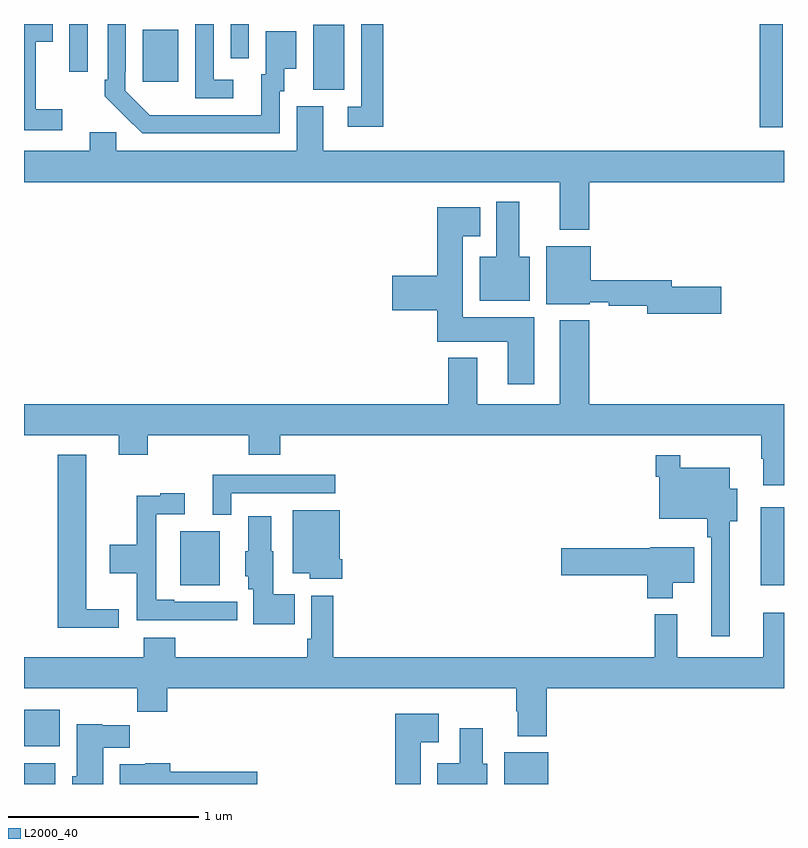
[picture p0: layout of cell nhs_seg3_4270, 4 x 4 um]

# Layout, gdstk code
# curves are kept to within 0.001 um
import gdstk
lib = gdstk.Library(unit=1e-6, precision=1e-09)
def R(c, l, rs):  # rectangles x0, y0, x1, y1
    for r in rs: c.add(gdstk.rectangle(r[:2], r[2:], *l))
def P(c, l, *ps):  # polygons
    for p in ps: c.add(gdstk.Polygon(p, *l))
L2000_40 = (2000, 40)

nhs_seg3_4270 = lib.new_cell('nhs_seg3_4270')
R(nhs_seg3_4270, L2000_40, [(337,712.4,337.165,712.51), (339.527,712.4,339.76,712.567), (337,712.598,337.189,712.792), (337.823,713.447,338.029,713.731), (340.877,713.447,341,713.857), (340.872,715.857,340.993,716.4), (338.522,716.053,338.686,716.396), (337.625,716.097,337.813,716.371), (337.239,716.148,337.335,716.4), (338.088,716.22,338.184,716.4)])
P(nhs_seg3_4270, L2000_40, [(337.201,715.951),(337.061,715.951),(337.061,716.306),(337.15,716.306),(337.15,716.4),(337,716.4),(337,715.842),(337.201,715.842)],
  [(338.346,716.046),(338.371,716.046),(338.371,716.165),(338.434,716.165),(338.434,716.362),(338.273,716.362),(338.273,716.136),(338.249,716.136),(338.249,715.92),(337.662,715.921),(337.533,716.049),(337.533,716.149),(337.536,716.149),(337.536,716.4),(337.44,716.4),(337.44,716.107),(337.425,716.107),(337.425,716.019),(337.622,715.824),(338.346,715.824)],
  [(338.891,716.4),(338.775,716.4),(338.775,715.965),(338.703,715.965),(338.703,715.86),(338.891,715.86)],
  [(338.101,716.106),(337.998,716.106),(337.998,716.4),(337.902,716.4),(337.902,716.01),(338.101,716.01)],
  [(339.974,715.568),(341,715.568),(341,715.732),(338.575,715.732),(338.575,715.968),(338.435,715.968),(338.435,715.732),(337.485,715.732),(337.485,715.83),(337.346,715.83),(337.346,715.732),(337,715.732),(337,715.568),(339.821,715.568),(339.821,715.316),(339.974,715.316)],
  [(339.661,715.174),(339.607,715.174),(339.607,715.465),(339.485,715.465),(339.485,715.174),(339.398,715.174),(339.398,714.944),(339.661,714.944)],
  [(339.685,714.856),(339.31,714.856),(339.31,715.283),(339.4,715.283),(339.4,715.435),(339.176,715.435),(339.176,715.076),(338.937,715.076),(338.937,714.893),(339.176,714.893),(339.176,714.728),(339.545,714.728),(339.545,714.504),(339.685,714.504)],
  [(340.669,715.016),(340.408,715.016),(340.408,715.052),(339.982,715.052),(339.982,715.231),(339.749,715.231),(339.749,714.926),(339.978,714.926),(339.978,714.936),(340.078,714.936),(340.078,714.916),(340.28,714.916),(340.28,714.874),(340.669,714.874)],
  [(341,714.4),(339.974,714.4),(339.974,714.841),(339.821,714.841),(339.821,714.4),(339.385,714.4),(339.385,714.643),(339.233,714.643),(339.233,714.4),(337,714.4),(337,714.236),(337.499,714.236),(337.499,714.134),(337.652,714.134),(337.652,714.236),(338.183,714.236),(338.183,714.134),(338.348,714.134),(338.348,714.236),(340.881,714.236),(340.881,714.113),(340.892,714.113),(340.892,713.973),(341,713.973)],
  [(337.498,713.321),(337.327,713.321),(337.327,714.133),(337.178,714.133),(337.178,713.222),(337.498,713.222)],
  [(340.714,713.783),(340.753,713.783),(340.753,713.953),(340.714,713.953),(340.714,714.064),(340.453,714.064),(340.453,714.13),(340.324,714.13),(340.324,714.017),(340.344,714.017),(340.344,713.795),(340.597,713.795),(340.597,713.699),(340.617,713.699),(340.617,713.178),(340.714,713.178)],
  [(338.091,713.931),(338.638,713.931),(338.638,714.027),(337.994,714.027),(337.994,713.816),(338.091,713.816)],
  [(338.122,713.358),(337.792,713.358),(337.792,713.371),(337.695,713.371),(337.695,713.82),(337.846,713.82),(337.846,713.929),(337.718,713.929),(337.718,713.918),(337.594,713.918),(337.594,713.658),(337.452,713.658),(337.452,713.51),(337.594,713.51),(337.594,713.262),(337.879,713.262),(337.879,713.261),(338.122,713.261)],
  [(338.675,713.584),(338.662,713.584),(338.662,713.842),(338.414,713.842),(338.414,713.51),(338.504,713.51),(338.504,713.48),(338.675,713.48)],
  [(338.426,713.398),(338.311,713.398),(338.311,713.625),(338.302,713.625),(338.302,713.809),(338.18,713.809),(338.18,713.625),(338.165,713.625),(338.165,713.493),(338.18,713.493),(338.18,713.424),(338.207,713.424),(338.207,713.24),(338.426,713.24)],
  [(340.414,713.459),(340.528,713.459),(340.528,713.647),(340.296,713.647),(340.296,713.642),(339.828,713.642),(339.828,713.5),(340.28,713.5),(340.28,713.378),(340.414,713.378)],
  [(339.752,712.904),(341,712.904),(341,713.302),(340.892,713.302),(340.892,713.068),(340.439,713.068),(340.439,713.293),(340.321,713.293),(340.321,713.068),(338.627,713.068),(338.627,713.392),(338.511,713.392),(338.511,713.164),(338.491,713.164),(338.491,713.068),(337.796,713.068),(337.796,713.17),(337.631,713.17),(337.631,713.068),(337,713.068),(337,712.904),(337.597,712.904),(337.597,712.78),(337.754,712.78),(337.754,712.904),(339.592,712.904),(339.592,712.784),(339.599,712.784),(339.599,712.652),(339.752,712.652)],
  [(339.088,712.619),(339.184,712.619),(339.184,712.771),(338.954,712.771),(338.954,712.4),(339.088,712.4)],
  [(337.417,712.592),(337.556,712.592),(337.556,712.71),(337.413,712.71),(337.413,712.714),(337.277,712.714),(337.277,712.44),(337.253,712.44),(337.253,712.4),(337.417,712.4)],
  [(339.439,712.506),(339.415,712.506),(339.415,712.693),(339.293,712.693),(339.293,712.51),(339.176,712.51),(339.176,712.4),(339.439,712.4)],
  [(338.227,712.464),(337.769,712.464),(337.769,712.51),(337.638,712.51),(337.638,712.504),(337.505,712.504),(337.505,712.4),(338.227,712.4)])

lib.write_gds('nhs_seg3_4270.gds')
